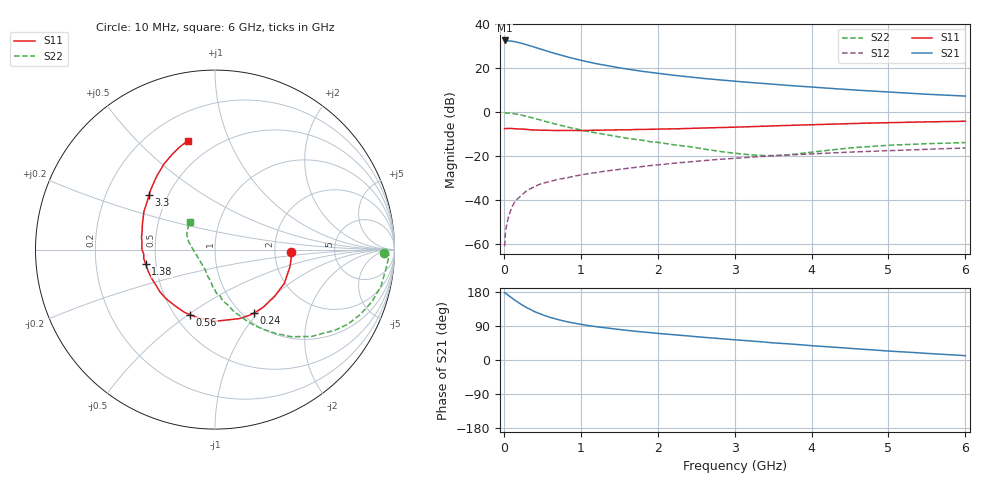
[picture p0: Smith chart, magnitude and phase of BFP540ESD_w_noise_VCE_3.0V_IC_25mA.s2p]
! Infineon Technologies  Discrete & RF Semiconductors
! BFP540ESD
! VCE =  3.0 V,  IC =  25 mA
! Common Emitter S-Parameters:  Nov 2015
# GHz  S  MA  R  50
!  f  S11  S21  S12  S22
! GHz  MAG  ANG  MAG  ANG  MAG  ANG  MAG  ANG
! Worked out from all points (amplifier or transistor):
!   210 points, 10 MHz to 6 GHz, reference 50 ohm
!   highest |S21| = 32.7 dB at 10 MHz (marker M1)
!   |S21| within 3 dB of that: start of sweep to 394 MHz
!   unconditionally stable (mu >= 1): 1.995 GHz to end of sweep
!   at 185 MHz: K = 0.23, MSG = 35.5 dB, |S12| = -39.2 dB
!   at 1.52 GHz: K = 0.92, MSG = 23.0 dB, |S12| = -25.9 dB
!   at 6 GHz: K = 1.11, MAG = 9.8 dB, |S12| = -16.2 dB
!   lowest NFmin = 1.29 dB at 900 MHz
!   S11 on the Smith chart (normalised r, x): 10 MHz: 2.47, -0.08; 240 MHz: 1.12, -0.96; 560 MHz: 0.60, -0.51; 1.38 GHz: 0.44, -0.09; 3.3 GHz: 0.39, +0.31; 6 GHz: 0.36, +0.71
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0.01  0.4234 -1.9  42.97 177.7  0.0009 130.7  0.9439 -1.1
0.1  0.4299 -25.9  41.48 164.2  0.0066 82.4  0.9475 -12.3
0.15  0.4221 -38.1  40.07 156.9  0.0097 80.2  0.9209 -18.4
0.2  0.4191 -49.7  38.26 150.0  0.0116 75.9  0.8863 -24.1
0.24  0.4151 -58.3  36.63 144.9  0.0134 73.2  0.8561 -28.2
0.3  0.4077 -70.6  34.26 137.8  0.0166 71.6  0.8056 -33.9
0.4  0.3982 -88.1  30.2 127.6  0.0205 66.0  0.7234 -42.0
0.5  0.3927 -103.4  26.67 119.2  0.0242 65.4  0.6447 -48.8
0.56  0.3883 -110.8  24.68 115.3  0.0256 64.2  0.6044 -51.8
0.6  0.389 -115.8  23.43 112.4  0.0266 63.5  0.5786 -54.0
0.7  0.3844 -125.7  20.88 106.8  0.0297 60.9  0.5225 -58.5
0.8  0.3862 -134.8  18.61 101.8  0.0317 60.0  0.4724 -62.9
1.02  0.3838 -150.0  14.95 93.5  0.0382 59.0  0.389 -69.9
1.38  0.3947 -168.0  11.17 83.3  0.0472 58.1  0.2976 -80.0
1.7  0.4068 -179.9  9.051 76.0  0.0559 56.6  0.2437 -87.9
2.02  0.4149 170.5  7.6 69.9  0.0639 54.7  0.2048 -93.8
2.56  0.436 156.7  5.964 60.5  0.0786 50.9  0.1495 -107.1
3.1  0.4631 144.6  4.917 51.9  0.0924 46.8  0.112 -127.5
3.3  0.4758 140.5  4.613 48.8  0.0974 44.9  0.1051 -139.2
4.1  0.5285 126.8  3.635 36.5  0.1153 37.7  0.1295 174.7
5.1  0.5852 113.3  2.822 22.5  0.1359 28.6  0.1804 149.9
6  0.6245 104.2  2.333 11.4  0.154 21.7  0.2043 132.0
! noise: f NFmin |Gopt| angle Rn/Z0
0.9  1.29  0.34  -137  0.12
1.8  1.44  0.36  -143  0.12
2.4  1.47  0.37  -133  0.13
3  1.58  0.39  -128  0.15
4  1.65  0.49  -105  0.26
5  1.76  0.57  -87  0.4
6  2.09  0.56  -87  0.63
